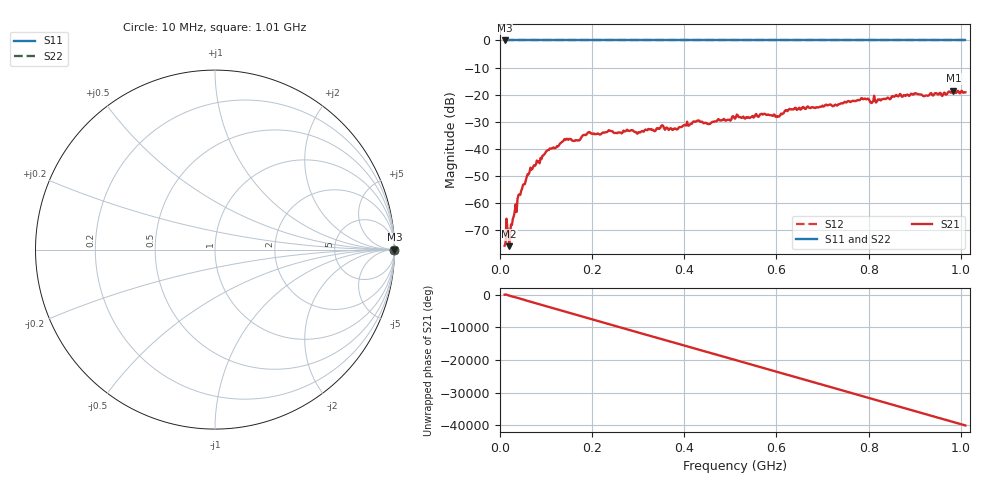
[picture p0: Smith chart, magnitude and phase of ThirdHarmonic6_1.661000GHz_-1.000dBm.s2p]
! 8/16/2025 7:54:21 PM
! C:\ANRITSUVNA\TEMP\TEMP.S2P
! CHANNEL.1
! TR.MEASUREMENT
! RAW.DATA
! RF.CORRECTION.OFF
! AVERAGING.OFF
! IF.BANDWIDTH: 5KHZ
! SWEEPTYPE:  FREQ.SWEEP(Linear)
! Reference Plane Port Info
! PORT:  PORT1  PORT2
! DISTANCE:  0  m  0  m
! TIME:  0  s  0  s
! PHASE.OFFSET:  0  deg.  0  deg.
! LOSS:  0  dB  0  dB
! REF.LOSS:  0  dB  0  dB
! REF.FREQ:  0  Hz  0  Hz
! Power Info
! POWER:  -20  dBm  -20  dBm
! EFF.POWER:  -20  dBm  -20  dBm
! SOURCE.ATTEN:  0  dB  0  dB
! TEST.ATTEN:  0  dB  0  dB
# GHZ S RI R 50.0
! FREQ.GHZ  S11RE  S11IM  S21RE  S21IM  S12RE  S12IM  S22RE  S22IM
!; PortSelection: Port_12
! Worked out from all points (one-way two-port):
!   501 points, 10 MHz to 1.01 GHz, reference 50 ohm
!   highest |S21| = -18.48 dB at 984 MHz (marker M1); lowest = -75.9 dB at 20 MHz (marker M2)
!   lowest |S11| = 0.0 dB at 10 MHz (marker M3)
!   |S11| at or under -10 dB: nowhere
!   |S22| runs from 0.0 to 0.0 dB; largest |S21 - S12| = 1.1
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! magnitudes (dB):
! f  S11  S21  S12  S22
! 10 MHz  0.0  -75.7  0.0  0.0
! 14 MHz  0.0  -65.8  0.0  0.0
! 20 MHz  0.0  -75.9  0.0  0.0
! 24 MHz  0.0  -67.9  0.0  0.0
! 42 MHz  0.0  -56.8  0.0  0.0
! 70 MHz  0.0  -47.5  0.0  0.0
! 106 MHz  0.0  -40.4  0.0  0.0
! 142 MHz  0.0  -36.7  0.0  0.0
! 178 MHz  0.0  -35.4  0.0  0.0
! 194 MHz  0.0  -33.8  0.0  0.0
! 300 MHz  0.0  -34.0  0.0  0.0
! 344 MHz  0.0  -32.6  0.0  0.0
! 382 MHz  0.0  -32.6  0.0  0.0
! 428 MHz  0.0  -29.6  0.0  0.0
! 454 MHz  0.0  -30.8  0.0  0.0
! 510 MHz  0.0  -28.9  0.0  0.0
! 602 MHz  0.0  -27.9  0.0  0.0
! 630 MHz  0.0  -25.3  0.0  0.0
! 678 MHz  0.0  -24.6  0.0  0.0
! 844 MHz  0.0  -21.4  0.0  0.0
! 984 MHz  0.0  -18.5  0.0  0.0
! 1.01 GHz  0.0  -19.1  0.0  0.0
